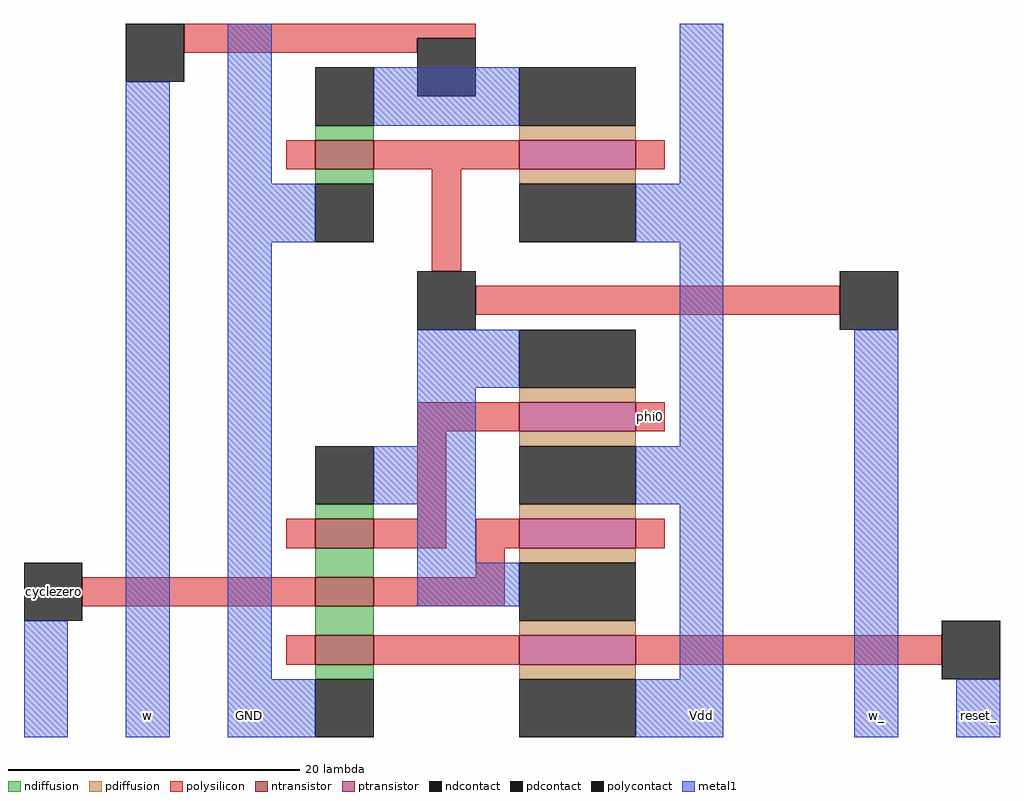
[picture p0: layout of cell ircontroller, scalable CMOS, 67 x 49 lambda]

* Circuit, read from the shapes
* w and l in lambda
.subckt ircontroller GND Vdd cyclezero phi0 reset_ w w_
M1 n1 reset_ GND VSUBS nfet w=4 l=2
M2 n2 cyclezero n1 VSUBS nfet w=4 l=2
M3 w_ phi0 n2 VSUBS nfet w=4 l=2
M4 w w_ GND VSUBS nfet w=4 l=2
M5 w_ reset_ Vdd NWELL pfet w=8 l=2
M6 Vdd cyclezero w_ NWELL pfet w=8 l=2
M7 w_ phi0 Vdd NWELL pfet w=8 l=2
M8 w w_ Vdd NWELL pfet w=8 l=2
.ends

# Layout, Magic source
magic
tech scmos
<< polysilicon >>
rect 11 108 31 109
rect 11 107 27 108
rect 28 92 30 99
rect 31 89 56 91
rect 27 81 34 83
rect 42 81 44 83
rect 27 75 29 81
rect 18 73 20 75
rect 24 73 29 75
rect 31 73 34 75
rect 42 73 44 75
rect 31 71 33 73
rect 4 69 20 71
rect 24 69 33 71
rect 18 65 20 67
rect 24 65 34 67
rect 42 65 63 67
<< ndiffusion >>
rect 20 75 24 76
rect 20 71 24 73
rect 20 67 24 69
rect 20 64 24 65
<< pdiffusion >>
rect 34 83 42 84
rect 34 80 42 81
rect 34 75 42 76
rect 34 72 42 73
rect 34 67 42 68
rect 34 64 42 65
<< metal1 >>
rect 0 60 3 68
rect 7 60 10 105
rect 14 98 17 109
rect 45 98 48 109
rect 14 94 20 98
rect 42 94 48 98
rect 14 64 17 94
rect 27 84 34 88
rect 27 80 31 84
rect 45 80 48 94
rect 24 76 31 80
rect 42 76 48 80
rect 27 72 31 76
rect 27 69 34 72
rect 45 64 48 76
rect 14 60 20 64
rect 42 60 48 64
rect 57 60 60 88
rect 64 60 67 64
<< ntransistor >>
rect 20 73 24 75
rect 20 69 24 71
rect 20 65 24 67
<< ptransistor >>
rect 34 81 42 83
rect 34 73 42 75
rect 34 65 42 67
<< polycontact >>
rect 7 105 11 109
rect 27 104 31 108
rect 27 88 31 92
rect 56 88 60 92
rect 0 68 4 72
rect 63 64 67 68
<< ndcontact >>
rect 20 76 24 80
rect 20 60 24 64
<< pdcontact >>
rect 34 84 42 88
rect 34 76 42 80
rect 34 68 42 72
rect 34 60 42 64
use inverter  inverter_0
transform 0 1 13 1 0 99
box -5 5 7 31
<< labels >>
rlabel polysilicon 43 82 43 82 1 phi0
rlabel polycontact 2 70 2 70 3 cyclezero
rlabel metal1 7 60 10 63 1 w
rlabel metal1 14 60 17 63 1 GND
rlabel metal1 45 60 48 63 1 Vdd
rlabel metal1 57 60 60 63 7 w_
rlabel metal1 64 60 67 63 8 reset_
<< end >>

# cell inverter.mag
magic
tech scmos
<< polysilicon >>
rect 0 29 2 31
rect 0 11 2 21
rect 0 5 2 7
<< ndiffusion >>
rect -1 7 0 11
rect 2 7 3 11
<< pdiffusion >>
rect -1 21 0 29
rect 2 21 3 29
<< metal1 >>
rect 3 11 7 21
<< ntransistor >>
rect 0 7 2 11
<< ptransistor >>
rect 0 21 2 29
<< ndcontact >>
rect -5 7 -1 11
rect 3 7 7 11
<< pdcontact >>
rect -5 21 -1 29
rect 3 21 7 29
<< labels >>
rlabel metal1 5 16 5 16 7 out
<< end >>
